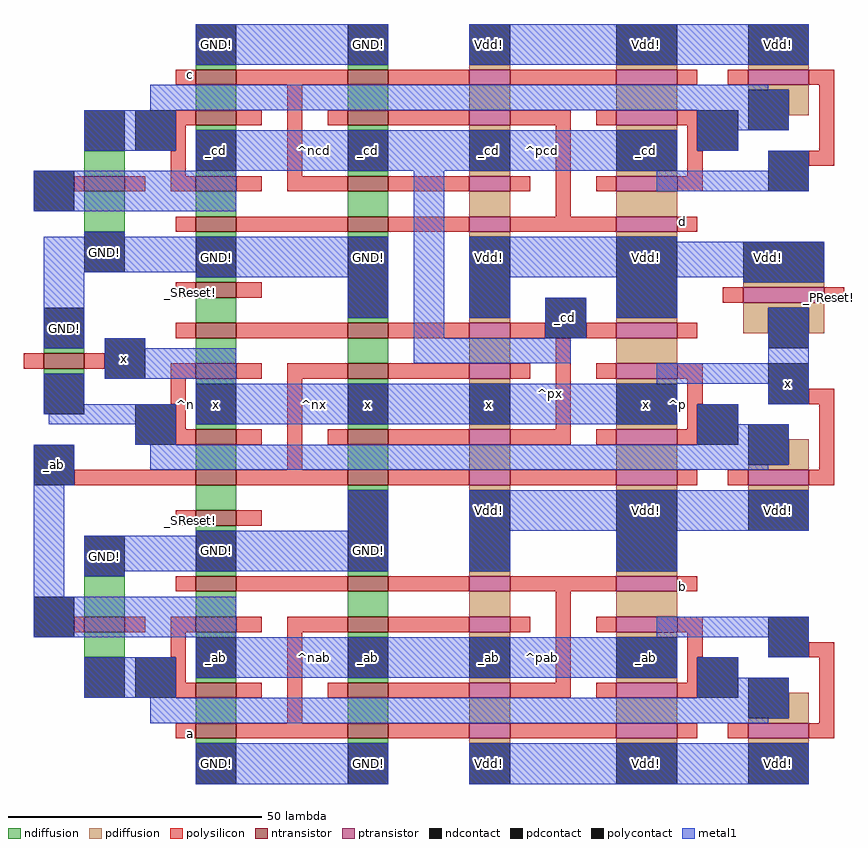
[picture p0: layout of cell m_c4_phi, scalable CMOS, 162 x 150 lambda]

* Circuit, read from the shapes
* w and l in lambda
.subckt m_c4_phi GND! Vdd! _PReset! _SReset! _ab _cd a b c d x
M1 GND! x n1 VSUBS nfet w=8 l=3
M2 GND! _ab n2 VSUBS nfet w=8 l=3
M3 n3 _cd GND! VSUBS nfet w=8 l=3
M4 n4 a GND! VSUBS nfet w=8 l=3
M5 _ab n2 n4 VSUBS nfet w=8 l=3
M6 n5 n2 _ab VSUBS nfet w=8 l=3
M7 GND! b n5 VSUBS nfet w=8 l=3
M8 n6 _SReset! GND! VSUBS nfet w=8 l=3
M9 n7 _ab n6 VSUBS nfet w=8 l=3
M10 x n1 n7 VSUBS nfet w=8 l=3
M11 n8 n1 x VSUBS nfet w=8 l=3
M12 n9 _cd n8 VSUBS nfet w=8 l=3
M13 GND! _SReset! n9 VSUBS nfet w=8 l=3
M14 n10 d GND! VSUBS nfet w=8 l=3
M15 _cd n3 n10 VSUBS nfet w=8 l=3
M16 n11 n3 _cd VSUBS nfet w=8 l=3
M17 GND! c n11 VSUBS nfet w=8 l=3
M18 n12 a GND! VSUBS nfet w=8 l=3
M19 _ab b n12 VSUBS nfet w=8 l=3
M20 n13 a _ab VSUBS nfet w=8 l=3
M21 GND! b n13 VSUBS nfet w=8 l=3
M22 n14 _ab GND! VSUBS nfet w=8 l=3
M23 x _cd n14 VSUBS nfet w=8 l=3
M24 n15 _ab x VSUBS nfet w=8 l=3
M25 GND! _cd n15 VSUBS nfet w=8 l=3
M26 n16 d GND! VSUBS nfet w=8 l=3
M27 _cd c n16 VSUBS nfet w=8 l=3
M28 n17 d _cd VSUBS nfet w=8 l=3
M29 GND! c n17 VSUBS nfet w=8 l=3
M30 n18 a Vdd! NWELL pfet w=8 l=3
M31 _ab b n18 NWELL pfet w=8 l=3
M32 n19 a _ab NWELL pfet w=8 l=3
M33 Vdd! b n19 NWELL pfet w=8 l=3
M34 n20 _ab Vdd! NWELL pfet w=8 l=3
M35 x _cd n20 NWELL pfet w=8 l=3
M36 n21 _ab x NWELL pfet w=8 l=3
M37 Vdd! _cd n21 NWELL pfet w=8 l=3
M38 n22 d Vdd! NWELL pfet w=8 l=3
M39 _cd c n22 NWELL pfet w=8 l=3
M40 n23 d _cd NWELL pfet w=8 l=3
M41 Vdd! c n23 NWELL pfet w=8 l=3
M42 n24 a Vdd! NWELL pfet w=12 l=3
M43 _ab n2 n24 NWELL pfet w=12 l=3
M44 n25 n2 _ab NWELL pfet w=12 l=3
M45 Vdd! b n25 NWELL pfet w=12 l=3
M46 n26 _ab Vdd! NWELL pfet w=12 l=3
M47 x n1 n26 NWELL pfet w=12 l=3
M48 n27 n1 x NWELL pfet w=12 l=3
M49 Vdd! _cd n27 NWELL pfet w=12 l=3
M50 n28 d Vdd! NWELL pfet w=12 l=3
M51 _cd n3 n28 NWELL pfet w=12 l=3
M52 n29 n3 _cd NWELL pfet w=12 l=3
M53 Vdd! c n29 NWELL pfet w=12 l=3
M54 Vdd! _PReset! x NWELL pfet w=16 l=3
M55 n2 _ab Vdd! NWELL pfet w=12 l=3
M56 n1 x Vdd! NWELL pfet w=12 l=3
M57 Vdd! _cd n3 NWELL pfet w=12 l=3
.ends

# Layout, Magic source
magic
tech scmos
<< ndiffusion >>
rect 5 144 13 145
rect 35 144 43 145
rect 5 136 13 141
rect -17 123 -9 128
rect 5 132 13 133
rect 5 123 13 124
rect 35 136 43 141
rect 35 132 43 133
rect 35 123 43 124
rect -17 112 -9 120
rect 5 115 13 120
rect 35 115 43 120
rect 5 111 13 112
rect 5 102 13 103
rect 35 111 43 112
rect 5 94 13 99
rect 35 94 43 95
rect -25 88 -17 89
rect -25 84 -17 85
rect 5 86 13 91
rect 35 86 43 91
rect 5 82 13 83
rect 5 73 13 74
rect 5 65 13 70
rect 35 82 43 83
rect 35 73 43 74
rect 35 65 43 70
rect 5 57 13 62
rect 35 61 43 62
rect 5 53 13 54
rect 5 44 13 45
rect 35 44 43 45
rect -17 36 -9 44
rect 5 36 13 41
rect 35 36 43 41
rect -17 28 -9 33
rect 5 32 13 33
rect 5 23 13 24
rect 5 15 13 20
rect 35 32 43 33
rect 35 23 43 24
rect 35 15 43 20
rect 5 11 13 12
rect 35 11 43 12
<< pdiffusion >>
rect 59 144 67 145
rect 88 144 100 145
rect 114 144 126 145
rect 59 136 67 141
rect 88 136 100 141
rect 114 140 126 141
rect 59 132 67 133
rect 59 123 67 124
rect 59 115 67 120
rect 88 132 100 133
rect 88 123 100 124
rect 122 135 126 140
rect 88 115 100 120
rect 59 111 67 112
rect 88 111 100 112
rect 59 94 67 95
rect 113 101 129 102
rect 88 94 100 95
rect 113 97 129 98
rect 113 92 118 97
rect 59 86 67 91
rect 59 82 67 83
rect 59 73 67 74
rect 88 86 100 91
rect 126 92 129 97
rect 88 82 100 83
rect 88 73 100 74
rect 59 65 67 70
rect 88 65 100 70
rect 122 66 126 71
rect 114 65 126 66
rect 59 61 67 62
rect 59 44 67 45
rect 88 61 100 62
rect 114 61 126 62
rect 88 44 100 45
rect 59 36 67 41
rect 59 32 67 33
rect 59 23 67 24
rect 88 36 100 41
rect 88 32 100 33
rect 88 23 100 24
rect 59 15 67 20
rect 88 15 100 20
rect 122 16 126 21
rect 114 15 126 16
rect 59 11 67 12
rect 88 11 100 12
rect 114 11 126 12
<< ntransistor >>
rect 5 141 13 144
rect 35 141 43 144
rect 5 133 13 136
rect 35 133 43 136
rect -17 120 -9 123
rect 5 120 13 123
rect 35 120 43 123
rect 5 112 13 115
rect 35 112 43 115
rect 5 99 13 102
rect 5 91 13 94
rect 35 91 43 94
rect -25 85 -17 88
rect 5 83 13 86
rect 35 83 43 86
rect 5 70 13 73
rect 35 70 43 73
rect 5 62 13 65
rect 35 62 43 65
rect 5 54 13 57
rect 5 41 13 44
rect 35 41 43 44
rect -17 33 -9 36
rect 5 33 13 36
rect 35 33 43 36
rect 5 20 13 23
rect 35 20 43 23
rect 5 12 13 15
rect 35 12 43 15
<< ptransistor >>
rect 59 141 67 144
rect 88 141 100 144
rect 114 141 126 144
rect 59 133 67 136
rect 88 133 100 136
rect 59 120 67 123
rect 88 120 100 123
rect 59 112 67 115
rect 88 112 100 115
rect 59 91 67 94
rect 113 98 129 101
rect 88 91 100 94
rect 59 83 67 86
rect 88 83 100 86
rect 59 70 67 73
rect 88 70 100 73
rect 59 62 67 65
rect 88 62 100 65
rect 114 62 126 65
rect 59 41 67 44
rect 88 41 100 44
rect 59 33 67 36
rect 88 33 100 36
rect 59 20 67 23
rect 88 20 100 23
rect 59 12 67 15
rect 88 12 100 15
rect 114 12 126 15
<< polysilicon >>
rect 1 141 5 144
rect 13 141 35 144
rect 43 141 59 144
rect 67 141 88 144
rect 100 141 104 144
rect 110 141 114 144
rect 126 141 131 144
rect 1 133 5 136
rect 13 133 18 136
rect 1 128 3 133
rect 0 123 3 128
rect 23 123 26 141
rect 31 133 35 136
rect 43 133 59 136
rect 67 133 79 136
rect 84 133 88 136
rect 100 133 104 136
rect -19 120 -17 123
rect -9 120 -5 123
rect 0 120 5 123
rect 13 120 18 123
rect 23 120 35 123
rect 43 120 59 123
rect 67 120 71 123
rect 76 115 79 133
rect 102 128 104 133
rect 128 128 131 141
rect 102 123 105 128
rect 84 120 88 123
rect 100 120 105 123
rect 126 125 131 128
rect 1 112 5 115
rect 13 112 35 115
rect 43 112 59 115
rect 67 112 88 115
rect 100 112 104 115
rect 1 99 5 102
rect 13 99 18 102
rect 1 91 5 94
rect 13 91 35 94
rect 43 91 59 94
rect 67 91 74 94
rect 109 98 113 101
rect 129 98 133 101
rect 82 91 88 94
rect 100 91 104 94
rect -29 85 -25 88
rect -17 85 -13 88
rect 0 83 5 86
rect 13 83 18 86
rect 23 83 35 86
rect 43 83 59 86
rect 67 83 71 86
rect 0 78 3 83
rect 1 73 3 78
rect 1 70 5 73
rect 13 70 18 73
rect 23 65 26 83
rect 76 73 79 91
rect 84 83 88 86
rect 100 83 105 86
rect 102 78 105 83
rect 126 78 131 81
rect 102 73 104 78
rect 31 70 35 73
rect 43 70 59 73
rect 67 70 79 73
rect 84 70 88 73
rect 100 70 104 73
rect 128 65 131 78
rect -19 62 5 65
rect 13 62 35 65
rect 43 62 59 65
rect 67 62 88 65
rect 100 62 104 65
rect 110 62 114 65
rect 126 62 131 65
rect 1 54 5 57
rect 13 54 18 57
rect 1 41 5 44
rect 13 41 35 44
rect 43 41 59 44
rect 67 41 88 44
rect 100 41 104 44
rect -19 33 -17 36
rect -9 33 -5 36
rect 0 33 5 36
rect 13 33 18 36
rect 23 33 35 36
rect 43 33 59 36
rect 67 33 71 36
rect 0 28 3 33
rect 1 23 3 28
rect 1 20 5 23
rect 13 20 18 23
rect 23 15 26 33
rect 76 23 79 41
rect 84 33 88 36
rect 100 33 105 36
rect 102 28 105 33
rect 126 28 131 31
rect 102 23 104 28
rect 31 20 35 23
rect 43 20 59 23
rect 67 20 79 23
rect 84 20 88 23
rect 100 20 104 23
rect 128 15 131 28
rect 1 12 5 15
rect 13 12 35 15
rect 43 12 59 15
rect 67 12 88 15
rect 100 12 104 15
rect 110 12 114 15
rect 126 12 131 15
<< ndcontact >>
rect 5 145 13 153
rect 35 145 43 153
rect -17 128 -9 136
rect 5 124 13 132
rect 35 124 43 132
rect -17 104 -9 112
rect 5 103 13 111
rect -25 89 -17 97
rect 35 95 43 111
rect -25 76 -17 84
rect 5 74 13 82
rect 35 74 43 82
rect -17 44 -9 52
rect 5 45 13 53
rect 35 45 43 61
rect -17 20 -9 28
rect 5 24 13 32
rect 35 24 43 32
rect 5 3 13 11
rect 35 3 43 11
<< pdcontact >>
rect 59 145 67 153
rect 88 145 100 153
rect 114 145 126 153
rect 59 124 67 132
rect 88 124 100 132
rect 114 132 122 140
rect 59 95 67 111
rect 88 95 100 111
rect 113 102 129 110
rect 59 74 67 82
rect 118 89 126 97
rect 88 74 100 82
rect 114 66 122 74
rect 59 45 67 61
rect 88 45 100 61
rect 114 53 126 61
rect 59 24 67 32
rect 88 24 100 32
rect 114 16 122 24
rect 59 3 67 11
rect 88 3 100 11
rect 114 3 126 11
<< polycontact >>
rect -7 128 1 136
rect -27 116 -19 124
rect 104 128 112 136
rect 118 120 126 128
rect 74 91 82 99
rect -13 83 -5 91
rect -7 70 1 78
rect -27 62 -19 70
rect 118 78 126 86
rect 104 70 112 78
rect -27 32 -19 40
rect -7 20 1 28
rect 118 28 126 36
rect 104 20 112 28
<< metal1 >>
rect 5 145 43 153
rect 59 145 126 153
rect -4 140 118 141
rect -4 136 122 140
rect -17 128 1 136
rect 104 132 122 136
rect 5 124 100 132
rect 104 128 112 132
rect 118 124 126 128
rect -27 116 13 124
rect -17 111 -9 112
rect -25 104 43 111
rect -25 89 -17 104
rect 5 103 43 104
rect 35 95 43 103
rect 48 91 54 124
rect 96 120 126 124
rect 59 110 100 111
rect 59 103 129 110
rect 59 95 67 103
rect 74 91 82 99
rect 88 95 100 103
rect 113 102 129 103
rect -13 89 -5 91
rect -25 78 -17 84
rect -13 83 13 89
rect 48 86 79 91
rect 118 86 126 97
rect 5 82 13 83
rect 96 82 126 86
rect -25 76 1 78
rect -24 74 1 76
rect 5 74 100 82
rect 118 78 126 82
rect 104 74 112 78
rect -7 70 1 74
rect 104 70 122 74
rect -27 62 -19 70
rect -4 66 122 70
rect -4 65 118 66
rect -27 40 -21 62
rect 35 53 43 61
rect 5 52 43 53
rect -17 45 43 52
rect 59 53 126 61
rect 59 45 67 53
rect 88 45 100 53
rect -17 44 -9 45
rect -27 32 13 40
rect 96 32 126 36
rect -17 20 1 28
rect 5 24 100 32
rect 118 28 126 32
rect 104 24 112 28
rect 104 20 122 24
rect -4 16 122 20
rect -4 15 118 16
rect 5 3 43 11
rect 59 3 126 11
<< labels >>
rlabel metal1 94 149 94 149 5 Vdd!
rlabel metal1 9 149 9 149 5 GND!
rlabel metal1 63 149 63 149 5 Vdd!
rlabel metal1 39 149 39 149 5 GND!
rlabel metal1 94 28 94 28 1 _ab
rlabel metal1 63 28 63 28 1 _ab
rlabel metal1 39 28 39 28 1 _ab
rlabel metal1 9 28 9 28 1 _ab
rlabel polysilicon 101 42 101 42 1 b
rlabel polysilicon 4 13 4 13 1 a
rlabel metal1 120 7 120 7 1 Vdd!
rlabel metal1 94 7 94 7 1 Vdd!
rlabel metal1 9 7 9 7 1 GND!
rlabel metal1 63 7 63 7 1 Vdd!
rlabel metal1 39 7 39 7 1 GND!
rlabel metal1 9 49 9 49 1 GND!
rlabel metal1 39 49 39 49 1 GND!
rlabel metal1 9 107 9 107 5 GND!
rlabel metal1 39 107 39 107 5 GND!
rlabel metal1 122 82 122 82 1 x
rlabel polysilicon 4 55 4 55 1 _SReset!
rlabel polysilicon 4 100 4 100 1 _SReset!
rlabel metal1 120 57 120 57 1 Vdd!
rlabel metal1 94 57 94 57 1 Vdd!
rlabel metal1 94 78 94 78 5 x
rlabel metal1 9 78 9 78 1 x
rlabel metal1 63 57 63 57 1 Vdd!
rlabel metal1 63 78 63 78 1 x
rlabel metal1 39 78 39 78 1 x
rlabel metal1 94 107 94 107 5 Vdd!
rlabel metal1 63 107 63 107 5 Vdd!
rlabel polysilicon 4 143 4 143 5 c
rlabel polysilicon 101 114 101 114 5 d
rlabel metal1 39 128 39 128 5 _cd
rlabel metal1 9 128 9 128 5 _cd
rlabel metal1 63 128 63 128 5 _cd
rlabel metal1 94 128 94 128 5 _cd
rlabel metal1 120 149 120 149 1 Vdd!
rlabel metal1 118 107 118 107 1 Vdd!
rlabel metal1 78 95 78 95 1 _cd
rlabel metal1 -9 87 -9 87 5 x
rlabel ndcontact -13 108 -13 108 5 GND!
rlabel metal1 -21 93 -21 93 1 GND!
rlabel metal1 -23 66 -23 66 1 _ab
rlabel metal1 -13 48 -13 48 1 GND!
rlabel polysilicon 130 99 130 99 7 _PReset!
rlabel space -30 2 36 154 7 ^n
rlabel space 66 2 134 154 3 ^p
rlabel space 67 10 80 46 7 ^pab
rlabel space 22 10 35 46 3 ^nab
rlabel space 22 60 35 96 3 ^nx
rlabel space 67 60 83 100 7 ^px
rlabel space 22 110 35 146 3 ^ncd
rlabel space 67 110 80 146 7 ^pcd
<< end >>
